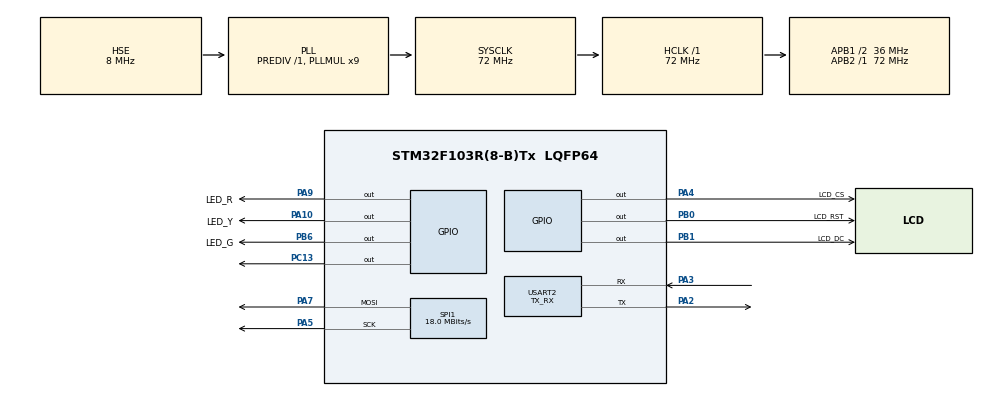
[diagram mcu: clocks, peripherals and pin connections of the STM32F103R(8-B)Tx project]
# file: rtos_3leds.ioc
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Dma.Request0=SPI1_TX
Dma.SPI1_TX.0.Direction=DMA_MEMORY_TO_PERIPH
Dma.SPI1_TX.0.Instance=DMA1_Channel3
Dma.SPI1_TX.0.MemDataAlignment=DMA_MDATAALIGN_BYTE
Dma.SPI1_TX.0.MemInc=DMA_MINC_ENABLE
Dma.SPI1_TX.0.Mode=DMA_NORMAL
Dma.SPI1_TX.0.PeriphDataAlignment=DMA_PDATAALIGN_BYTE
Dma.SPI1_TX.0.PeriphInc=DMA_PINC_DISABLE
Dma.SPI1_TX.0.Priority=DMA_PRIORITY_LOW
FREERTOS.Tasks01=LED_R,1,128,LED_R_Task,Default,NULL,Dynamic,NULL,NULL;LED_Y,0,128,LED_Y_Task,Default,NULL,Dynamic,NULL,NULL;LED_G,-1,128,LED_G_Task,Default,NULL,Dynamic,NULL,NULL;LCD,-2,128,LCD_Task,Default,NULL,Dynamic,NULL,NULL
FREERTOS.configUSE_NEWLIB_REENTRANT=1
Mcu.Family=STM32F1
Mcu.Name=STM32F103R(8-B)Tx
Mcu.Package=LQFP64
NVIC.DMA1_Channel3_IRQn=true\:5\:0\:false\:false\:true\:true\:false\:true\:true
NVIC.PriorityGroup=NVIC_PRIORITYGROUP_4
NVIC.TIM1_UP_IRQn=true\:15\:0\:false\:false\:true\:false\:false\:true\:true
NVIC.TimeBase=TIM1_UP_IRQn
NVIC.TimeBaseIP=TIM1
PA10.GPIO_Label=LED_Y
PA10.Signal=GPIO_Output
PA13.Mode=Serial_Wire
PA13.Signal=SYS_JTMS-SWDIO
PA14.Mode=Serial_Wire
PA14.Signal=SYS_JTCK-SWCLK
PA2.Mode=Asynchronous
PA2.Signal=USART2_TX
PA3.Mode=Asynchronous
PA3.Signal=USART2_RX
PA4.GPIO_Label=LCD_CS
PA4.GPIO_PuPd=GPIO_PULLUP
PA4.GPIO_Speed=GPIO_SPEED_FREQ_HIGH
PA4.PinState=GPIO_PIN_SET
PA4.Signal=GPIO_Output
PA5.Mode=TX_Only_Simplex_Unidirect_Master
PA5.Signal=SPI1_SCK
PA7.Mode=TX_Only_Simplex_Unidirect_Master
PA7.Signal=SPI1_MOSI
PA9.GPIO_Label=LED_R
PA9.Signal=GPIO_Output
PB0.GPIO_Label=LCD_RST
PB0.GPIO_PuPd=GPIO_PULLUP
PB0.GPIO_Speed=GPIO_SPEED_FREQ_HIGH
PB0.PinState=GPIO_PIN_SET
PB0.Signal=GPIO_Output
PB1.GPIO_Label=LCD_DC
PB1.GPIO_PuPd=GPIO_PULLUP
PB1.GPIO_Speed=GPIO_SPEED_FREQ_HIGH
PB1.PinState=GPIO_PIN_SET
PB1.Signal=GPIO_Output
PB6.GPIO_Label=LED_G
PB6.Signal=GPIO_Output
PC13-TAMPER-RTC.Signal=GPIO_Output
PC7.Signal=S_TIM3_CH2
PD0-OSC_IN.Mode=HSE-External-Oscillator
PD0-OSC_IN.Signal=RCC_OSC_IN
PD1-OSC_OUT.Mode=HSE-External-Oscillator
PD1-OSC_OUT.Signal=RCC_OSC_OUT
ProjectManager.HeapSize=0x200
ProjectManager.StackSize=0x400
ProjectManager.TargetToolchain=STM32CubeIDE
RCC.AHBFreq_Value=72000000
RCC.APB1CLKDivider=RCC_HCLK_DIV2
RCC.APB1Freq_Value=36000000
RCC.APB1TimFreq_Value=72000000
RCC.APB2Freq_Value=72000000
RCC.APB2TimFreq_Value=72000000
RCC.HCLKFreq_Value=72000000
RCC.PLLMUL=RCC_PLL_MUL9
RCC.PLLSourceVirtual=RCC_PLLSOURCE_HSE
RCC.SYSCLKFreq_VALUE=72000000
RCC.SYSCLKSource=RCC_SYSCLKSOURCE_PLLCLK
RCC.USBFreq_Value=72000000
SH.S_TIM3_CH2.0=TIM3_CH2
SPI1.BaudRatePrescaler=SPI_BAUDRATEPRESCALER_4
SPI1.CalculateBaudRate=18.0 MBits/s
SPI1.Direction=SPI_DIRECTION_2LINES
SPI1.Mode=SPI_MODE_MASTER
SPI1.VirtualType=VM_MASTER
USART2.Mode=MODE_TX_RX
USART2.VirtualMode=VM_ASYNC
VP_FREERTOS_VS_CMSIS_V1.Mode=CMSIS_V1
VP_SYS_VS_tim1.Mode=TIM1
board=custom

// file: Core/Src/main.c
/* USER CODE BEGIN Header */
/**
  ******************************************************************************
  * @file           : main.c
  * @brief          : Main program body
  ******************************************************************************
  * @attention
  *
  * Copyright (c) 2025 STMicroelectronics.
  * All rights reserved.
  *
  * This software is licensed under terms that can be found in the LICENSE file
  * in the root directory of this software component.
  * If no LICENSE file comes with this software, it is provided AS-IS.
  *
  ******************************************************************************
  */
/* USER CODE END Header */
#include "main.h"
#include "cmsis_os.h"

/* USER CODE BEGIN Includes */
#include <stdio.h>
#include <string.h>
#include <stdarg.h>
#include "stdlib.h"
#include "ILI9341_STM32_Driver.h"
#include "ILI9341_GFX.h"
/* USER CODE END Includes */

SPI_HandleTypeDef hspi1;
DMA_HandleTypeDef hdma_spi1_tx;

UART_HandleTypeDef huart2;

osThreadId LED_RHandle;
osThreadId LED_YHandle;
osThreadId LED_GHandle;
osThreadId LCDHandle;

void SystemClock_Config(void);
static void MX_GPIO_Init(void);
static void MX_DMA_Init(void);
static void MX_SPI1_Init(void);
static void MX_USART2_UART_Init(void);
void LED_R_Task(void const * argument);
void LED_Y_Task(void const * argument);
void LED_G_Task(void const * argument);
void LCD_Task(void const * argument);
void LCD_Init(void);

/* USER CODE BEGIN PFP */
//KIYUN: UART CONSOLE DEBUG
#ifdef __GNUC__
#define PUTCHAR_PROTOTYPE int __io_putchar(int ch)
#else
#define PUTCHAR_PROTOTYPE int fputc(int ch, FILE *f)
#endif

PUTCHAR_PROTOTYPE
{
  HAL_UART_Transmit(&huart2, (uint8_t *)&ch, 1, HAL_MAX_DELAY);
  return ch;
}
/* USER CODE END PFP */

/* USER CODE BEGIN 0 */
void UART_SendString(char *str)
{
    HAL_UART_Transmit(&huart2, (uint8_t*)str, strlen(str), HAL_MAX_DELAY);
}

void UART_SendBuffer(const char *format, ...)
{
    char buffer[128];  // 출력할 문자열을 저장할 버퍼
    va_list args;
    va_start(args, format);
    vsnprintf(buffer, sizeof(buffer), format, args);  // 문자열 포맷 변환
    va_end(args);

    HAL_UART_Transmit(&huart2, (uint8_t*)buffer, strlen(buffer), HAL_MAX_DELAY);
}
/* USER CODE END 0 */

int main(void)
{

  /* MCU Configuration--------------------------------------------------------*/

  /* Reset of all peripherals, Initializes the Flash interface and the Systick. */
  HAL_Init();

  /* Configure the system clock */
  SystemClock_Config();

  /* Initialize all configured peripherals */
  MX_GPIO_Init();
  MX_DMA_Init();
  MX_SPI1_Init();
  MX_USART2_UART_Init();
  LCD_Init();

  /* Create the thread(s) */
  /* definition and creation of LED_R */
  osThreadDef(LED_R, LED_R_Task, osPriorityAboveNormal, 0, 128);
  LED_RHandle = osThreadCreate(osThread(LED_R), NULL);

  /* definition and creation of LED_Y */
  osThreadDef(LED_Y, LED_Y_Task, osPriorityNormal, 0, 128);
  LED_YHandle = osThreadCreate(osThread(LED_Y), NULL);

  /* definition and creation of LED_G */
  osThreadDef(LED_G, LED_G_Task, osPriorityBelowNormal, 0, 128);
  LED_GHandle = osThreadCreate(osThread(LED_G), NULL);

  /* definition and creation of LCD */
  osThreadDef(LCD, LCD_Task, osPriorityLow, 0, 128);
  LCDHandle = osThreadCreate(osThread(LCD), NULL);

  /* Start scheduler */
  osKernelStart();

  /* We should never get here as control is now taken by the scheduler */

  /* Infinite loop */
  while (1)
  {

  }
}

void SystemClock_Config(void)
{
  RCC_OscInitTypeDef RCC_OscInitStruct = {0};
  RCC_ClkInitTypeDef RCC_ClkInitStruct = {0};

  /** Initializes the RCC Oscillators according to the specified parameters
  * in the RCC_OscInitTypeDef structure.
  */
  RCC_OscInitStruct.OscillatorType = RCC_OSCILLATORTYPE_HSE;
  RCC_OscInitStruct.HSEState = RCC_HSE_ON;
  RCC_OscInitStruct.HSEPredivValue = RCC_HSE_PREDIV_DIV1;
  RCC_OscInitStruct.HSIState = RCC_HSI_ON;
  RCC_OscInitStruct.PLL.PLLState = RCC_PLL_ON;
  RCC_OscInitStruct.PLL.PLLSource = RCC_PLLSOURCE_HSE;
  RCC_OscInitStruct.PLL.PLLMUL = RCC_PLL_MUL9;
  if (HAL_RCC_OscConfig(&RCC_OscInitStruct) != HAL_OK)
  {
    Error_Handler();
  }

  /** Initializes the CPU, AHB and APB buses clocks
  */
  RCC_ClkInitStruct.ClockType = RCC_CLOCKTYPE_HCLK|RCC_CLOCKTYPE_SYSCLK
                              |RCC_CLOCKTYPE_PCLK1|RCC_CLOCKTYPE_PCLK2;
  RCC_ClkInitStruct.SYSCLKSource = RCC_SYSCLKSOURCE_PLLCLK;
  RCC_ClkInitStruct.AHBCLKDivider = RCC_SYSCLK_DIV1;
  RCC_ClkInitStruct.APB1CLKDivider = RCC_HCLK_DIV2;
  RCC_ClkInitStruct.APB2CLKDivider = RCC_HCLK_DIV1;

  if (HAL_RCC_ClockConfig(&RCC_ClkInitStruct, FLASH_LATENCY_2) != HAL_OK)
  {
    Error_Handler();
  }
}

static void MX_SPI1_Init(void)
{

  /* SPI1 parameter configuration*/
  hspi1.Instance = SPI1;
  hspi1.Init.Mode = SPI_MODE_MASTER;
  hspi1.Init.Direction = SPI_DIRECTION_2LINES;
  hspi1.Init.DataSize = SPI_DATASIZE_8BIT;
  hspi1.Init.CLKPolarity = SPI_POLARITY_LOW;
  hspi1.Init.CLKPhase = SPI_PHASE_1EDGE;
  hspi1.Init.NSS = SPI_NSS_SOFT;
  hspi1.Init.BaudRatePrescaler = SPI_BAUDRATEPRESCALER_4;
  hspi1.Init.FirstBit = SPI_FIRSTBIT_MSB;
  hspi1.Init.TIMode = SPI_TIMODE_DISABLE;
  hspi1.Init.CRCCalculation = SPI_CRCCALCULATION_DISABLE;
  hspi1.Init.CRCPolynomial = 10;
  if (HAL_SPI_Init(&hspi1) != HAL_OK)
  {
    Error_Handler();
  }

}

static void MX_USART2_UART_Init(void)
{

  huart2.Instance = USART2;
  huart2.Init.BaudRate = 115200;
  huart2.Init.WordLength = UART_WORDLENGTH_8B;
  huart2.Init.StopBits = UART_STOPBITS_1;
  huart2.Init.Parity = UART_PARITY_NONE;
  huart2.Init.Mode = UART_MODE_TX_RX;
  huart2.Init.HwFlowCtl = UART_HWCONTROL_NONE;
  huart2.Init.OverSampling = UART_OVERSAMPLING_16;
  if (HAL_UART_Init(&huart2) != HAL_OK)
  {
    Error_Handler();
  }

}

static void MX_DMA_Init(void)
{

  /* DMA controller clock enable */
  __HAL_RCC_DMA1_CLK_ENABLE();

  /* DMA interrupt init */
  /* DMA1_Channel3_IRQn interrupt configuration */
  HAL_NVIC_SetPriority(DMA1_Channel3_IRQn, 5, 0);
  HAL_NVIC_EnableIRQ(DMA1_Channel3_IRQn);

}

static void MX_GPIO_Init(void)
{
  GPIO_InitTypeDef GPIO_InitStruct = {0};

  /* GPIO Ports Clock Enable */
  __HAL_RCC_GPIOC_CLK_ENABLE();
  __HAL_RCC_GPIOD_CLK_ENABLE();
  __HAL_RCC_GPIOA_CLK_ENABLE();
  __HAL_RCC_GPIOB_CLK_ENABLE();

  /*Configure GPIO pin Output Level */
  HAL_GPIO_WritePin(GPIOC, GPIO_PIN_13, GPIO_PIN_RESET);

  /*Configure GPIO pin Output Level */
  HAL_GPIO_WritePin(LCD_CS_GPIO_Port, LCD_CS_Pin, GPIO_PIN_SET);

  /*Configure GPIO pin Output Level */
  HAL_GPIO_WritePin(GPIOB, LCD_RST_Pin|LCD_DC_Pin, GPIO_PIN_SET);

  /*Configure GPIO pin Output Level */
  HAL_GPIO_WritePin(GPIOA, LED_R_Pin|LED_Y_Pin, GPIO_PIN_RESET);

  /*Configure GPIO pin Output Level */
  HAL_GPIO_WritePin(LED_G_GPIO_Port, LED_G_Pin, GPIO_PIN_RESET);

  /*Configure GPIO pin : PC13 */
  GPIO_InitStruct.Pin = GPIO_PIN_13;
  GPIO_InitStruct.Mode = GPIO_MODE_OUTPUT_PP;
  GPIO_InitStruct.Pull = GPIO_NOPULL;
  GPIO_InitStruct.Speed = GPIO_SPEED_FREQ_LOW;
  HAL_GPIO_Init(GPIOC, &GPIO_InitStruct);

  /*Configure GPIO pin : LCD_CS_Pin */
  GPIO_InitStruct.Pin = LCD_CS_Pin;
  GPIO_InitStruct.Mode = GPIO_MODE_OUTPUT_PP;
  GPIO_InitStruct.Pull = GPIO_PULLUP;
  GPIO_InitStruct.Speed = GPIO_SPEED_FREQ_HIGH;
  HAL_GPIO_Init(LCD_CS_GPIO_Port, &GPIO_InitStruct);

  /*Configure GPIO pins : LCD_RST_Pin LCD_DC_Pin */
  GPIO_InitStruct.Pin = LCD_RST_Pin|LCD_DC_Pin;
  GPIO_InitStruct.Mode = GPIO_MODE_OUTPUT_PP;
  GPIO_InitStruct.Pull = GPIO_PULLUP;
  GPIO_InitStruct.Speed = GPIO_SPEED_FREQ_HIGH;
  HAL_GPIO_Init(GPIOB, &GPIO_InitStruct);

  /*Configure GPIO pin : PC7 */
  GPIO_InitStruct.Pin = GPIO_PIN_7;
  GPIO_InitStruct.Mode = GPIO_MODE_AF_PP;
  GPIO_InitStruct.Speed = GPIO_SPEED_FREQ_LOW;
  HAL_GPIO_Init(GPIOC, &GPIO_InitStruct);

  /*Configure GPIO pins : LED_R_Pin LED_Y_Pin */
  GPIO_InitStruct.Pin = LED_R_Pin|LED_Y_Pin;
  GPIO_InitStruct.Mode = GPIO_MODE_OUTPUT_PP;
  GPIO_InitStruct.Pull = GPIO_NOPULL;
  GPIO_InitStruct.Speed = GPIO_SPEED_FREQ_LOW;
  HAL_GPIO_Init(GPIOA, &GPIO_InitStruct);

  /*Configure GPIO pin : LED_G_Pin */
  GPIO_InitStruct.Pin = LED_G_Pin;
  GPIO_InitStruct.Mode = GPIO_MODE_OUTPUT_PP;
  GPIO_InitStruct.Pull = GPIO_NOPULL;
  GPIO_InitStruct.Speed = GPIO_SPEED_FREQ_LOW;
  HAL_GPIO_Init(LED_G_GPIO_Port, &GPIO_InitStruct);

  /*Configure peripheral I/O remapping */
  __HAL_AFIO_REMAP_TIM3_ENABLE();

}

/* USER CODE BEGIN 4 */
void LCD_Init(void) {
	ILI9341_Init();
	ILI9341_SetRotation(SCREEN_HORIZONTAL_1);
	ILI9341_FillScreen(WHITE);	//FOR INITIALIZE
	ILI9341_SetRotation(SCREEN_HORIZONTAL_1);
	ILI9341_FillScreen(BLACK);	//FOR INITIALIZE
	ILI9341_SetRotation(SCREEN_HORIZONTAL_2);
	ILI9341_FillScreen(BLACK);	//FOR INITIALIZE
}
/* USER CODE END 4 */

void LED_R_Task(void const * argument)
{
  /* USER CODE BEGIN 5 */
  /* Infinite loop */
  for(;;)
  {
	    HAL_GPIO_WritePin(GPIOA, GPIO_PIN_9, SET);
	    UART_SendString("LED_R _ON\r\n");

	    for (int i = 0; i < 10; i++) {
	        osDelay(3);
	     }

	    HAL_GPIO_WritePin(GPIOA, GPIO_PIN_9, RESET);
	    UART_SendString("LED_R OFF\r\n");

	    for (int i = 0; i < 10; i++) {
	        osDelay(7);
	    }
  }
  /* USER CODE END 5 */
}

void LED_Y_Task(void const * argument)
{
  /* USER CODE BEGIN LED_Y_Task */
  /* Infinite loop */
  for(;;)
  {
	    HAL_GPIO_WritePin(GPIOA, GPIO_PIN_10, SET);
	    UART_SendString("LED_Y _ON\r\n");

	    for (int i = 0; i < 10; i++)  // 50ms 단위로 끊어서 실행
	    {
	        osDelay(5);
	    }

	    HAL_GPIO_WritePin(GPIOA, GPIO_PIN_10, RESET);
	    UART_SendString("LED_Y OFF\r\n");

	    for (int i = 0; i < 10; i++)  // 50ms 단위로 끊어서 실행
	    {
	        osDelay(5);
	    }
  }
  /* USER CODE END LED_Y_Task */
}

void LED_G_Task(void const * argument)
{
  /* USER CODE BEGIN LED_G_Task */
  /* Infinite loop */
  for(;;)
  {
	    HAL_GPIO_WritePin(GPIOB, GPIO_PIN_6, SET);
	    UART_SendString("LED_G _ON\r\n");

	    for (int i = 0; i < 10; i++)  // 50ms 단위로 끊어서 실행
	    {
	        osDelay(8);
	    }

	    HAL_GPIO_WritePin(GPIOB, GPIO_PIN_6, RESET);
	    UART_SendString("LED_G OFF\r\n");

	    for (int i = 0; i < 10; i++)  // 50ms 단위로 끊어서 실행
	    {
	        osDelay(2);
	    }
  }
  /* USER CODE END LED_G_Task */
}

void LCD_Task(void const * argument)
{
  /* USER CODE BEGIN LCD_Task */
	static char BufferNum[30];
	ILI9341_DrawText("HELLO, WORLD!", FONT3, 10, 110, WHITE, BLACK);
	ILI9341_DrawText("MY NAME IS KIYUN!", FONT3, 10, 130, WHITE, BLACK);
	ILI9341_DrawText("COUNT: ", FONT3, 10, 150, WHITE, BLACK);

	/* Infinite loop */
	for(;;)
	{
	    for (int i = 0; i < 10; i++)  // 50ms 단위로 끊어서 실행
	    {
	    	sprintf(BufferNum, "%d", i);
	    	UART_SendBuffer(BufferNum);
		 	ILI9341_DrawText(BufferNum, FONT3, 75, 150, WHITE, BLACK);
	      osDelay(5);
	    }
	}
  /* USER CODE END LCD_Task */
}

void HAL_TIM_PeriodElapsedCallback(TIM_HandleTypeDef *htim)
{
  if (htim->Instance == TIM1) {
    HAL_IncTick();
  }
}

void Error_Handler(void)
{
  __disable_irq();
  while (1)
  {
  }
}
